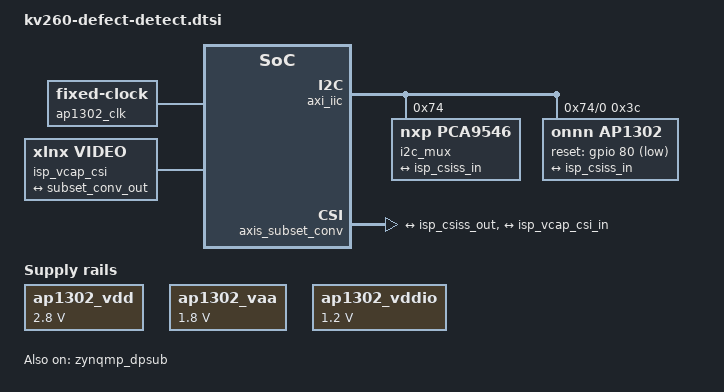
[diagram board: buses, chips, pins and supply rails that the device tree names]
// SPDX-License-Identifier: GPL-2.0
/*
 * dts file for Xilinx KV260 defect-detect
 *
 * (C) Copyright 2020 - 2022, Xilinx, Inc.
 *
 */

/dts-v1/;
/plugin/;

&fpga_full {
	#address-cells = <2>;
	#size-cells = <2>;
	firmware-name = "kv260-defect-detect.bit.bin";
	resets = <&zynqmp_reset 116>, <&zynqmp_reset 117>, <&zynqmp_reset 118>, <&zynqmp_reset 119>;
};

&zynqmp_dpsub {
    status = "okay";
    clocks = <&dp_aclk>, <&zynqmp_clk 17>, <&zynqmp_clk 16>, <&dp_video_clk 0>;
    clock-names = "dp_apb_clk", "dp_aud_clk",
                    "dp_vtc_pixel_clk_in",
                    "dp_live_video_in_clk";
    xlnx,bridge = <&v_tc>;

    dp_port: port@0 {
        reg = <0>;
        dp_encoder: endpoint {
            remote-endpoint = <&mixer_crtc>;
        };
    };
};

&amba {
	afi0: afi0 {
		compatible = "xlnx,afi-fpga";
		config-afi = <0 0>, <1 0>, <2 0>, <3 0>, <4 1>, <5 1>, <6 0>, <7 0>, <8 0>, <9 0>, <10 2>, <11 2>, <12 2>, <13 2>, <14 0x0>, <15 0x000>;
	};

	clocking0: clocking0 {
		#clock-cells = <0>;
		assigned-clock-rates = <99999001>;
		assigned-clocks = <&zynqmp_clk 71>;
		clock-output-names = "fabric_clk";
		clocks = <&zynqmp_clk 71>;
		compatible = "xlnx,fclk";
	};

	misc_clk_0: misc_clk_0 {
		#clock-cells = <0>;
		clock-frequency = <99999000>;
		compatible = "fixed-clock";
	};

	misc_clk_1: misc_clk_1 {
		#clock-cells = <0>;
		clock-frequency = <274997250>;
		compatible = "fixed-clock";
	};

	misc_clk_2: misc_clk_2 {
		#clock-cells = <0>;
		clock-frequency = <199998000>;
		compatible = "fixed-clock";
	};

	/* ar0144 isp mipi rx pipeline */
	ap1302_clk: sensor_clk {
		#clock-cells = <0x0>;
		compatible = "fixed-clock";
		clock-frequency = <0x48000000>;
	};

	ap1302_vdd: fixedregulator@0 {
		compatible = "regulator-fixed";
		regulator-name = "ap1302_vdd";
		regulator-min-microvolt = <2800000>;
		regulator-max-microvolt = <2800000>;
		enable-active-high;
	};

	ap1302_vaa: fixedregulator@1 {
		compatible = "regulator-fixed";
		regulator-name = "ap1302_vaa";
		regulator-min-microvolt = <1800000>;
		regulator-max-microvolt = <1800000>;
	};

	ap1302_vddio: fixedregulator@2 {
		compatible = "regulator-fixed";
		regulator-name = "ap1302_vddio";
		regulator-min-microvolt = <1200000>;
		regulator-max-microvolt = <1200000>;
	};

	axi_iic: i2c@80040000 {
		#address-cells = <1>;
		#size-cells = <0>;
		clock-names = "s_axi_aclk";
		clocks = <&misc_clk_0>;
		compatible = "xlnx,axi-iic-2.0", "xlnx,xps-iic-2.00.a";
		interrupt-names = "iic2intc_irpt";
		interrupt-parent = <&gic>;
		interrupts = <0 106 4>;
		reg = <0x0 0x80040000 0x0 0x10000>;

		i2c_mux: i2c-mux@74 {
			compatible = "nxp,pca9546";
			#address-cells = <1>;
			#size-cells = <0>;
			reg = <0x74>;

			i2c@0 {
				#address-cells = <1>;
				#size-cells = <0>;
				reg = <0>;
				ap1302: isp@3c {
					compatible = "onnn,ap1302";
					reg = <0x3c>;
					#address-cells = <1>;
					#size-cells = <0>;
					reset-gpios = <&gpio 80 1>;
					clocks = <&ap1302_clk>;
					sensors {
						#address-cells = <1>;
						#size-cells = <0>;
						onnn,model = "onnn,ar0144";
						sensor@0 {
							reg = <0>;
							vdd-supply = <&ap1302_vdd>;
							vaa-supply = <&ap1302_vaa>;
							vddio-supply = <&ap1302_vddio>;
						};
					};
					ports {
						#address-cells = <1>;
						#size-cells = <0>;
						port@0 {
							reg = <2>;
							isp_out: endpoint {
								remote-endpoint = <&isp_csiss_in>;
								data-lanes = <1>;
							};
						};
					};
				};
			};
		};
	};

	isp_csiss: csiss@80030000 {
		compatible = "xlnx,mipi-csi2-rx-subsystem-5.0";
		reg = <0x0 0x80030000 0x0 0x10000>;
		clock-names = "lite_aclk", "dphy_clk_200M", "video_aclk";
		clocks = <&misc_clk_0>, <&misc_clk_2>, <&misc_clk_1>;
		interrupt-parent = <&gic>;
		interrupts = <0 107 4>;
		xlnx,csi-pxl-format = <0x1e>;
		xlnx,axis-tdata-width = <32>;
		xlnx,max-lanes = <1>;
		xlnx,en-active-lanes;
		xlnx,ppc = <2>;
		xlnx,vfb;

		ports {
			#address-cells = <0x1>;
			#size-cells = <0x0>;

			port@1 {
				reg = <0x1>;

				isp_csiss_out: endpoint {
					remote-endpoint = <&subset_conv_in>;
				};
			};
			port@0 {
				reg = <0x0>;

				isp_csiss_in: endpoint {
					data-lanes = <1>;
					remote-endpoint = <&isp_out>;
				};
			};
		};
	};

	axis_subset_conv: isp_subset_convertor {
		compatible = "xlnx,axis-subsetconv-1.1";
		ports {
			port@0 {
				reg = <0x0>;
				subset_conv_in: endpoint {
					remote-endpoint = <&isp_csiss_out>;
				};
			};
			port@1 {
				reg = <0x1>;
				subset_conv_out: endpoint {
					remote-endpoint = <&isp_vcap_csi_in>;
				};
			};
		};
	};

	isp_fb_wr_csi: fb_wr@b0000000 {
		compatible = "xlnx,axi-frmbuf-wr-v2.1";
		reg = <0x0 0xb0000000 0x0 0x10000>;
		#dma-cells = <1>;
		interrupt-parent = <&gic>;
		interrupts = <0 108 4>;
		xlnx,vid-formats = "y8", "uyvy";
		reset-gpios = <&gpio 79 1>;
		xlnx,dma-addr-width = <32>;
		xlnx,pixels-per-clock = <2>;
		xlnx,max-width = <3840>;
		xlnx,max-height = <2160>;
		clocks = <&misc_clk_1>;
		clock-names = "ap_clk";
	};

	isp_vcap_csi {
		compatible = "xlnx,video";
		dmas = <&isp_fb_wr_csi 0>;
		dma-names = "port0";

		ports {
			#address-cells = <1>;
			#size-cells = <0>;

			port@0 {
				reg = <0>;
				direction = "input";

				isp_vcap_csi_in: endpoint {
					remote-endpoint = <&subset_conv_out>;
				};
			};
		};
	};

	/* video mixer display pipeline */
	dp_video_clk: clock-generator@80020000 {
		#address-cells = <2>;
		#clock-cells = <1>;
		clock-names = "clk_in1", "s_axi_aclk";
		clock-output-names = "clk_out1";
		clocks = <&misc_clk_1>, <&misc_clk_0>;
		compatible = "xlnx,clocking-wizard";
		reg = <0x0 0x80020000 0x0 0x10000>;
		speed-grade = <2>;
	};

	v_tc: v_tc@80010000 {
		clock-names = "clk", "s_axi_aclk";
		clocks = <&dp_video_clk 0>, <&misc_clk_0>;
		compatible = "xlnx,bridge-v-tc-6.1";
		reg = <0x0 0x80010000 0x0 0x10000>;
		xlnx,generator;
		xlnx,pixels-per-clock = <1>;
	};

	v_mix: v_mix@b0010000 {
		clocks = <&misc_clk_1>;
		compatible = "xlnx,v-mix-5.1", "xlnx,mixer-3.0", "xlnx,mixer-4.0", "xlnx,mixer-5.0";
		interrupt-names = "interrupt";
		interrupt-parent = <&gic>;
		interrupts = <0 104 4>;
		reg = <0x0 0xb0010000 0x0 0x10000>;
		reset-gpios = <&gpio 78 1>;
		xlnx,bpc = <8>;
		xlnx,dma-addr-width = <32>;
		xlnx,num-layers = <6>;
		xlnx,ppc = <1>;
		xlnx,disp-bridge = <&zynqmp_dpsub>;

		mixer_port: port {
			reg = <0>;

			mixer_crtc: endpoint@0 {
				reg = <0>;
				remote-endpoint = <&dp_encoder>;
			};
		};

		xx_mix_overlay_0display_pipeline_v_mix_0: layer_0 {
			xlnx,layer-id = <0>;
			xlnx,layer-max-height = <2160>;
			xlnx,layer-max-width = <3840>;
			xlnx,layer-primary;
			xlnx,vformat = "NV16";
		};

		xx_mix_overlay_1display_pipeline_v_mix_0: layer_1 {
			xlnx,layer-id = <1>;
			xlnx,layer-max-width = <3840>;
			xlnx,vformat = "GREY";
		};

		xx_mix_overlay_2display_pipeline_v_mix_0: layer_2 {
			xlnx,layer-id = <2>;
			xlnx,layer-max-width = <3840>;
			xlnx,vformat = "GREY";
		};

		xx_mix_overlay_3display_pipeline_v_mix_0: layer_3 {
			xlnx,layer-id = <3>;
			xlnx,layer-max-width = <3840>;
			xlnx,vformat = "GREY";
		};

		xx_mix_overlay_4display_pipeline_v_mix_0: layer_4 {
			xlnx,layer-id = <4>;
			xlnx,layer-max-width = <3840>;
			xlnx,vformat = "GREY";
		};

		xx_mix_overlay_5display_pipeline_v_mix_0: layer_5 {
			xlnx,layer-id = <5>;
			xlnx,layer-max-width = <3840>;
			xlnx,vformat = "AR24";
		};
	};

	/* zocl */
	zocl: zyxclmm_drm {
		compatible = "xlnx,zocl";
		status = "okay";
		interrupt-parent = <&gic>;
		interrupts = <0 89  4>, <0 90  4>, <0 91  4>, <0 92  4>,
				<0 93  4>, <0 94  4>, <0 95  4>, <0 96  4>;
	};
};
